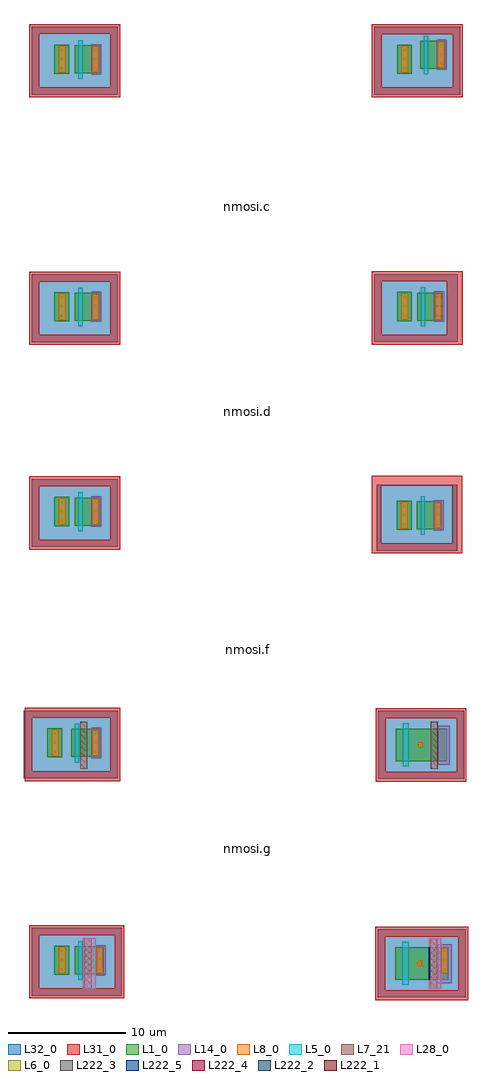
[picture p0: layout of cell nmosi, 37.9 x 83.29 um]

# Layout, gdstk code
import gdstk
lib = gdstk.Library(unit=1e-6, precision=1e-09)
def R(c, l, rs):  # rectangles x0, y0, x1, y1
    for r in rs: c.add(gdstk.rectangle(r[:2], r[2:], *l))
L1_0 = (1, 0)
L5_0 = (5, 0)
L6_0 = (6, 0)
L7_21 = (7, 21)
L8_0 = (8, 0)
L14_0 = (14, 0)
L28_0 = (28, 0)
L31_0 = (31, 0)
L32_0 = (32, 0)
L222_1 = (222, 1)
L222_2 = (222, 2)
L222_3 = (222, 3)
L222_4 = (222, 4)
L222_5 = (222, 5)

nmosi = lib.new_cell('nmosi')
R(nmosi, L1_0, [(11.585,-92.52,16.115,-89.72), (-17.515,-92.085,-16.245,-89.595), (-17.455,-92.035,-16.335,-89.645), (-15.785,-92.035,-13.29,-89.645), (11.62,-73.875,15.98,-71.075), (-18.105,-73.545,-16.835,-71.055), (-18.045,-73.495,-16.925,-71.105), (-16.085,-73.495,-13.655,-71.105), (11.69,-54.12,12.96,-51.63), (11.75,-54.07,12.87,-51.68), (13.42,-54.07,15.55,-51.68), (-17.515,-53.8,-16.245,-51.31), (-17.455,-53.75,-16.335,-51.36), (-15.785,-53.75,-13.655,-51.36), (-17.515,-36.315,-16.245,-33.825), (11.725,-36.305,12.995,-33.815), (-17.455,-36.265,-16.335,-33.875), (-15.785,-36.265,-13.655,-33.875), (11.785,-36.255,12.905,-33.865), (13.455,-36.255,15.585,-33.865), (11.725,-15.195,12.995,-12.705), (-17.515,-15.19,-16.245,-12.7), (11.785,-15.145,12.905,-12.755), (-17.455,-15.14,-16.335,-12.75), (-15.785,-15.14,-13.655,-12.75), (13.695,-14.755,15.825,-12.365)])
R(nmosi, L5_0, [(12.185,-92.94,12.705,-89.26), (-15.475,-92.515,-15.095,-89.215), (12.22,-74.295,12.74,-70.615), (-15.765,-73.975,-15.385,-70.675), (13.73,-54.55,14.11,-51.25), (-15.475,-54.23,-15.095,-50.93), (-15.475,-36.745,-15.095,-33.445), (13.765,-36.735,14.145,-33.435), (-15.475,-15.62,-15.095,-12.32), (14.005,-15.235,14.385,-11.935)])
R(nmosi, L6_0, [(-16.955,-91.695,-16.795,-91.535), (-13.7,-91.695,-13.54,-91.535), (15.705,-91.695,15.865,-91.535), (13.585,-91.2,13.745,-91.04), (-16.955,-90.885,-16.795,-90.725), (-13.7,-90.885,-13.54,-90.725), (15.705,-90.885,15.865,-90.725), (-16.955,-90.135,-16.795,-89.975), (-13.7,-90.135,-13.54,-89.975), (15.705,-90.135,15.865,-89.975), (-17.545,-73.155,-17.385,-72.995), (-14.065,-73.155,-13.905,-72.995), (13.62,-72.555,13.78,-72.395), (-17.545,-72.345,-17.385,-72.185), (-14.065,-72.345,-13.905,-72.185), (-17.545,-71.595,-17.385,-71.435), (-14.065,-71.595,-13.905,-71.435), (12.25,-53.73,12.41,-53.57), (15.14,-53.73,15.3,-53.57), (-16.955,-53.41,-16.795,-53.25), (-14.065,-53.41,-13.905,-53.25), (12.25,-52.92,12.41,-52.76), (15.14,-52.92,15.3,-52.76), (-16.955,-52.6,-16.795,-52.44), (-14.065,-52.6,-13.905,-52.44), (12.25,-52.17,12.41,-52.01), (15.14,-52.17,15.3,-52.01), (-16.955,-51.85,-16.795,-51.69), (-14.065,-51.85,-13.905,-51.69), (-16.955,-35.925,-16.795,-35.765), (-14.065,-35.925,-13.905,-35.765), (12.285,-35.915,12.445,-35.755), (15.175,-35.915,15.335,-35.755), (-16.955,-35.115,-16.795,-34.955), (-14.065,-35.115,-13.905,-34.955), (12.285,-35.105,12.445,-34.945), (15.175,-35.105,15.335,-34.945), (-16.955,-34.365,-16.795,-34.205), (-14.065,-34.365,-13.905,-34.205), (12.285,-34.355,12.445,-34.195), (15.175,-34.355,15.335,-34.195), (12.285,-14.805,12.445,-14.645), (-16.955,-14.8,-16.795,-14.64), (-14.065,-14.8,-13.905,-14.64), (15.415,-14.415,15.575,-14.255), (12.285,-13.995,12.445,-13.835), (-16.955,-13.99,-16.795,-13.83), (-14.065,-13.99,-13.905,-13.83), (15.415,-13.605,15.575,-13.445), (12.285,-13.245,12.445,-13.085), (-16.955,-13.24,-16.795,-13.08), (-14.065,-13.24,-13.905,-13.08), (15.415,-12.855,15.575,-12.695)])
R(nmosi, L7_21, [(-14.955,-93.28,-14.33,-88.97), (14.54,-93.28,15.165,-88.97), (-15.315,-74.485,-14.695,-70.475), (14.61,-74.485,15.2,-70.475)])
R(nmosi, L8_0, [(-17.145,-91.985,-16.565,-89.695), (-13.9,-91.955,-13.37,-89.765), (15.505,-91.955,16.035,-89.765), (13.445,-91.35,13.885,-90.89), (-17.735,-73.445,-17.155,-71.155), (-14.265,-73.415,-13.735,-71.225), (13.48,-72.705,13.92,-72.245), (12.06,-54.02,12.64,-51.73), (14.94,-53.99,15.47,-51.8), (-17.145,-53.7,-16.565,-51.41), (-14.265,-53.67,-13.735,-51.48), (-17.145,-36.215,-16.565,-33.925), (12.095,-36.205,12.675,-33.915), (-14.265,-36.185,-13.735,-33.995), (14.975,-36.175,15.505,-33.985), (12.095,-15.095,12.675,-12.805), (-17.145,-15.09,-16.565,-12.8), (-14.265,-15.06,-13.735,-12.87), (15.215,-14.675,15.745,-12.485)])
R(nmosi, L14_0, [(15.165,-92.83,16.375,-89.47), (-14.02,-92.135,-13.14,-89.555), (15.2,-74.185,16.24,-70.825), (-14.385,-73.595,-13.505,-71.015), (14.82,-54.17,15.7,-51.59), (-14.385,-53.85,-13.505,-51.27), (-14.385,-36.365,-13.505,-33.785), (14.855,-36.355,15.735,-33.775), (-14.385,-15.24,-13.505,-12.66), (15.095,-14.855,15.975,-12.275)])
R(nmosi, L28_0, [(-15.105,-93.28,-13.99,-88.97), (14.425,-93.28,15.505,-88.97)])
R(nmosi, L31_0, [(9.875,-94.24,17.785,-93.39), (-19.655,-94.095,-11.55,-93.245), (9.875,-93.39,10.705,-88.84), (16.955,-93.39,17.785,-88.84), (-19.655,-93.245,-18.825,-88.695), (-12.38,-93.245,-11.55,-88.695), (9.875,-88.84,17.785,-87.99), (-19.655,-88.695,-11.55,-87.845), (9.91,-75.595,17.65,-74.745), (-20.035,-75.555,-11.915,-74.705), (9.91,-74.745,10.74,-70.195), (16.82,-74.745,17.65,-70.195), (-20.035,-74.705,-19.415,-70.155), (-12.745,-74.705,-11.915,-70.155), (9.91,-70.195,17.65,-69.345), (-20.035,-70.155,-11.915,-69.305), (9.55,-56.13,17.29,-55.28), (-19.655,-55.81,-11.915,-54.96), (9.55,-55.28,10.38,-50.22), (16.46,-55.28,17.29,-50.22), (-19.655,-54.96,-18.825,-50.41), (-12.745,-54.96,-11.915,-50.41), (-19.655,-50.41,-11.915,-49.56), (9.55,-50.35,17.29,-49.5), (-19.655,-38.325,-11.915,-37.475), (9.585,-38.315,17.325,-37.465), (-19.655,-37.475,-18.825,-32.925), (-12.745,-37.475,-11.915,-32.925), (9.585,-37.465,10.415,-32.915), (15.965,-37.465,17.325,-32.915), (-19.655,-32.925,-11.915,-32.075), (9.585,-32.915,17.325,-32.065), (9.585,-17.205,17.325,-16.355), (-19.655,-17.2,-11.915,-16.35), (9.585,-16.355,10.415,-11.805), (16.495,-16.355,17.325,-11.805), (-19.655,-16.35,-18.825,-11.8), (-12.745,-16.35,-11.915,-11.8), (9.585,-11.805,17.325,-10.955), (-19.655,-11.8,-11.915,-10.95)])
R(nmosi, L32_0, [(10.085,-94.01,17.575,-88.22), (-19.445,-93.865,-11.76,-88.075), (10.12,-75.365,17.44,-69.575), (-20.115,-75.325,-12.125,-69.535), (10,-55.9,16.86,-50.28), (-19.445,-55.58,-12.125,-49.79), (-19.445,-38.095,-12.125,-32.305), (9.795,-38.085,16.895,-32.295), (9.795,-16.975,17.115,-11.185), (-19.445,-16.97,-12.125,-11.18)])
R(nmosi, L222_1, [(13.695,-12.37,15.825,-12.36), (13.695,-11.19,15.825,-11.18)])
R(nmosi, L222_2, [(15.96,-36.343,15.97,-36.255), (15.96,-36.343,15.97,-33.777), (15.575,-36.26,15.585,-36.25), (15.58,-36.255,15.59,-33.865), (15.575,-33.87,15.585,-33.86), (15.96,-33.865,15.97,-33.777)])
R(nmosi, L222_3, [(9.995,-55.77,10.005,-50.28), (16.855,-55.754,16.865,-50.28), (10.375,-55.28,10.385,-50.35), (16.455,-55.28,16.465,-50.35), (10.38,-50.355,16.46,-50.345), (10,-50.285,16.86,-50.275)])
R(nmosi, L222_4, [(14.605,-74.485,14.615,-70.475), (15.195,-74.485,15.205,-70.475)])
R(nmosi, L222_5, [(14.425,-92.52,14.54,-89.72)])
nmosi.add(gdstk.Label('6.5 nmosi_nmosiHV', (0,21), layer=63, texttype=0))
nmosi.add(gdstk.Label('FAIL', (12,5), layer=63, texttype=0))
nmosi.add(gdstk.Label('PASS', (-12,5), layer=63, texttype=0))
nmosi.add(gdstk.Label('nmosi.d', (-1.005,-44), layer=63, texttype=0))
nmosi.add(gdstk.Label('nmosi.c', (-1.005,-26.545), layer=63, texttype=0))
nmosi.add(gdstk.Label('nmosi.b', (-1.005,-5), layer=63, texttype=0))
nmosi.add(gdstk.Label('nmosi.g', (-1.005,-81.325), layer=63, texttype=0))
nmosi.add(gdstk.Label('nmosi.f', (-1.005,-64.325), layer=63, texttype=0))

lib.write_gds('nmosi.gds')
